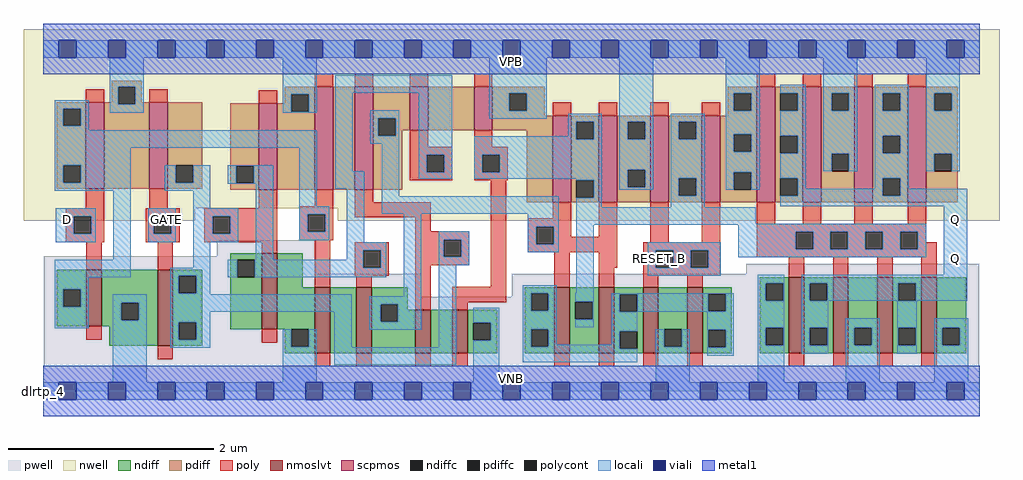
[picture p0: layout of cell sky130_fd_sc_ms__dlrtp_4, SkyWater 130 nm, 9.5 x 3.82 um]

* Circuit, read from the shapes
.subckt sky130_fd_sc_ms__dlrtp_4 D GATE RESET_B VGND VNB VPB VPWR Q
XM1 VGND D n1 VNB sky130_fd_pr__nfet_01v8_lvt w=0.55 l=0.15
XM2 n2 GATE VGND VNB sky130_fd_pr__nfet_01v8_lvt w=0.74 l=0.15
XM3 VGND n2 n3 VNB sky130_fd_pr__nfet_01v8_lvt w=0.74 l=0.15
XM4 n4 n1 VGND VNB sky130_fd_pr__nfet_01v8_lvt w=0.64 l=0.15
XM5 n5 n3 n4 VNB sky130_fd_pr__nfet_01v8_lvt w=0.64 l=0.15
XM6 n6 n2 n5 VNB sky130_fd_pr__nfet_01v8_lvt w=0.42 l=0.15
XM7 VGND n7 n6 VNB sky130_fd_pr__nfet_01v8_lvt w=0.42 l=0.15
XM8 n7 n5 n8 VNB sky130_fd_pr__nfet_01v8_lvt w=0.64 l=0.15 m=2
XM9 VGND RESET_B n8 VNB sky130_fd_pr__nfet_01v8_lvt w=0.64 l=0.15 m=2
XM10 Q n7 VGND VNB sky130_fd_pr__nfet_01v8_lvt w=0.74 l=0.15 m=4
XM11 VPWR D n1 VPB sky130_fd_pr__pfet_01v8 w=0.84 l=0.18
XM12 n2 GATE VPWR VPB sky130_fd_pr__pfet_01v8 w=0.84 l=0.18
XM13 VPWR n2 n3 VPB sky130_fd_pr__pfet_01v8 w=0.84 l=0.18
XM14 n9 n1 VPWR VPB sky130_fd_pr__pfet_01v8 w=1 l=0.18
XM15 n5 n2 n9 VPB sky130_fd_pr__pfet_01v8 w=1 l=0.18
XM16 n10 n3 n5 VPB sky130_fd_pr__pfet_01v8 w=0.42 l=0.18
XM17 VPWR n7 n10 VPB sky130_fd_pr__pfet_01v8 w=0.42 l=0.18
XM18 n7 n5 VPWR VPB sky130_fd_pr__pfet_01v8 w=0.84 l=0.18 m=2
XM19 n7 RESET_B VPWR VPB sky130_fd_pr__pfet_01v8 w=0.84 l=0.18 m=2
XM20 Q n7 VPWR VPB sky130_fd_pr__pfet_01v8 w=1.12 l=0.18 m=4
.ends

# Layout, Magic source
magic
tech sky130A
magscale 1 2
<< nwell >>
rect -38 356 1862 704
rect -38 332 296 356
rect 574 332 1862 356
<< pwell >>
rect 338 262 532 294
rect 1 228 532 262
rect 1369 228 1823 248
rect 1 184 736 228
rect 912 184 1823 228
rect 1 49 1823 184
rect 0 0 1824 49
<< scpmos >>
rect 83 394 119 562
rect 207 394 243 562
rect 420 392 456 560
rect 529 392 565 592
rect 607 392 643 592
rect 714 508 750 592
rect 839 508 875 592
rect 992 368 1028 536
rect 1082 368 1118 536
rect 1182 368 1218 536
rect 1282 368 1318 536
rect 1389 368 1425 592
rect 1479 368 1515 592
rect 1579 368 1615 592
rect 1683 368 1719 592
<< nmoslvt >>
rect 84 126 114 236
rect 223 88 253 236
rect 426 120 456 268
rect 529 74 559 202
rect 610 74 640 202
rect 725 74 755 158
rect 797 74 827 158
rect 995 74 1025 202
rect 1082 74 1112 202
rect 1168 74 1198 202
rect 1254 74 1284 202
rect 1452 74 1482 222
rect 1538 74 1568 222
rect 1624 74 1654 222
rect 1710 74 1740 222
<< ndiff >>
rect 364 256 426 268
rect 27 198 84 236
rect 27 164 39 198
rect 73 164 84 198
rect 27 126 84 164
rect 114 172 223 236
rect 114 138 152 172
rect 186 138 223 172
rect 114 126 223 138
rect 129 88 223 126
rect 253 224 310 236
rect 253 190 264 224
rect 298 190 310 224
rect 253 134 310 190
rect 253 100 264 134
rect 298 100 310 134
rect 364 222 378 256
rect 412 222 426 256
rect 364 120 426 222
rect 456 202 506 268
rect 456 120 529 202
rect 253 88 310 100
rect 471 86 483 120
rect 517 86 529 120
rect 471 74 529 86
rect 559 74 610 202
rect 640 169 710 202
rect 640 135 657 169
rect 691 158 710 169
rect 1395 210 1452 222
rect 938 190 995 202
rect 691 135 725 158
rect 640 74 725 135
rect 755 74 797 158
rect 827 133 884 158
rect 827 99 838 133
rect 872 99 884 133
rect 827 74 884 99
rect 938 156 950 190
rect 984 156 995 190
rect 938 120 995 156
rect 938 86 950 120
rect 984 86 995 120
rect 938 74 995 86
rect 1025 174 1082 202
rect 1025 140 1036 174
rect 1070 140 1082 174
rect 1025 74 1082 140
rect 1112 188 1168 202
rect 1112 154 1123 188
rect 1157 154 1168 188
rect 1112 116 1168 154
rect 1112 82 1123 116
rect 1157 82 1168 116
rect 1112 74 1168 82
rect 1198 120 1254 202
rect 1198 86 1209 120
rect 1243 86 1254 120
rect 1198 74 1254 86
rect 1284 189 1341 202
rect 1284 155 1295 189
rect 1329 155 1341 189
rect 1284 119 1341 155
rect 1284 85 1295 119
rect 1329 85 1341 119
rect 1284 74 1341 85
rect 1395 176 1407 210
rect 1441 176 1452 210
rect 1395 123 1452 176
rect 1395 89 1407 123
rect 1441 89 1452 123
rect 1395 74 1452 89
rect 1482 210 1538 222
rect 1482 176 1493 210
rect 1527 176 1538 210
rect 1482 123 1538 176
rect 1482 89 1493 123
rect 1527 89 1538 123
rect 1482 74 1538 89
rect 1568 123 1624 222
rect 1568 89 1579 123
rect 1613 89 1624 123
rect 1568 74 1624 89
rect 1654 210 1710 222
rect 1654 176 1665 210
rect 1699 176 1710 210
rect 1654 123 1710 176
rect 1654 89 1665 123
rect 1699 89 1710 123
rect 1654 74 1710 89
rect 1740 123 1797 222
rect 1740 89 1751 123
rect 1785 89 1797 123
rect 1740 74 1797 89
<< pdiff >>
rect 134 592 192 604
rect 134 562 146 592
rect 27 550 83 562
rect 27 516 39 550
rect 73 516 83 550
rect 27 440 83 516
rect 27 406 39 440
rect 73 406 83 440
rect 27 394 83 406
rect 119 558 146 562
rect 180 562 192 592
rect 180 558 207 562
rect 119 394 207 558
rect 243 440 310 562
rect 471 578 529 592
rect 471 560 483 578
rect 243 406 258 440
rect 292 406 310 440
rect 243 394 310 406
rect 364 439 420 560
rect 364 405 376 439
rect 410 405 420 439
rect 364 392 420 405
rect 456 544 483 560
rect 517 544 529 578
rect 456 392 529 544
rect 565 392 607 592
rect 643 531 714 592
rect 643 497 653 531
rect 687 508 714 531
rect 750 508 839 592
rect 875 580 977 592
rect 875 546 908 580
rect 942 546 977 580
rect 1333 580 1389 592
rect 875 536 977 546
rect 1333 546 1345 580
rect 1379 546 1389 580
rect 1333 536 1389 546
rect 875 508 992 536
rect 687 497 699 508
rect 643 392 699 497
rect 942 368 992 508
rect 1028 524 1082 536
rect 1028 490 1038 524
rect 1072 490 1082 524
rect 1028 410 1082 490
rect 1028 376 1038 410
rect 1072 376 1082 410
rect 1028 368 1082 376
rect 1118 524 1182 536
rect 1118 490 1138 524
rect 1172 490 1182 524
rect 1118 431 1182 490
rect 1118 397 1138 431
rect 1172 397 1182 431
rect 1118 368 1182 397
rect 1218 524 1282 536
rect 1218 490 1238 524
rect 1272 490 1282 524
rect 1218 414 1282 490
rect 1218 380 1238 414
rect 1272 380 1282 414
rect 1218 368 1282 380
rect 1318 500 1389 536
rect 1318 466 1345 500
rect 1379 466 1389 500
rect 1318 426 1389 466
rect 1318 392 1345 426
rect 1379 392 1389 426
rect 1318 368 1389 392
rect 1425 580 1479 592
rect 1425 546 1435 580
rect 1469 546 1479 580
rect 1425 497 1479 546
rect 1425 463 1435 497
rect 1469 463 1479 497
rect 1425 414 1479 463
rect 1425 380 1435 414
rect 1469 380 1479 414
rect 1425 368 1479 380
rect 1515 580 1579 592
rect 1515 546 1535 580
rect 1569 546 1579 580
rect 1515 462 1579 546
rect 1515 428 1535 462
rect 1569 428 1579 462
rect 1515 368 1579 428
rect 1615 580 1683 592
rect 1615 546 1635 580
rect 1669 546 1683 580
rect 1615 497 1683 546
rect 1615 463 1635 497
rect 1669 463 1683 497
rect 1615 414 1683 463
rect 1615 380 1635 414
rect 1669 380 1683 414
rect 1615 368 1683 380
rect 1719 580 1781 592
rect 1719 546 1735 580
rect 1769 546 1781 580
rect 1719 462 1781 546
rect 1719 428 1735 462
rect 1769 428 1781 462
rect 1719 368 1781 428
<< ndiffc >>
rect 39 164 73 198
rect 152 138 186 172
rect 264 190 298 224
rect 264 100 298 134
rect 378 222 412 256
rect 483 86 517 120
rect 657 135 691 169
rect 838 99 872 133
rect 950 156 984 190
rect 950 86 984 120
rect 1036 140 1070 174
rect 1123 154 1157 188
rect 1123 82 1157 116
rect 1209 86 1243 120
rect 1295 155 1329 189
rect 1295 85 1329 119
rect 1407 176 1441 210
rect 1407 89 1441 123
rect 1493 176 1527 210
rect 1493 89 1527 123
rect 1579 89 1613 123
rect 1665 176 1699 210
rect 1665 89 1699 123
rect 1751 89 1785 123
<< pdiffc >>
rect 39 516 73 550
rect 39 406 73 440
rect 146 558 180 592
rect 258 406 292 440
rect 376 405 410 439
rect 483 544 517 578
rect 653 497 687 531
rect 908 546 942 580
rect 1345 546 1379 580
rect 1038 490 1072 524
rect 1038 376 1072 410
rect 1138 490 1172 524
rect 1138 397 1172 431
rect 1238 490 1272 524
rect 1238 380 1272 414
rect 1345 466 1379 500
rect 1345 392 1379 426
rect 1435 546 1469 580
rect 1435 463 1469 497
rect 1435 380 1469 414
rect 1535 546 1569 580
rect 1535 428 1569 462
rect 1635 546 1669 580
rect 1635 463 1669 497
rect 1635 380 1669 414
rect 1735 546 1769 580
rect 1735 428 1769 462
<< poly >>
rect 529 592 565 618
rect 607 592 643 618
rect 714 592 750 618
rect 839 592 875 618
rect 1389 592 1425 618
rect 1479 592 1515 618
rect 1579 592 1615 618
rect 1683 592 1719 618
rect 83 562 119 588
rect 207 562 243 588
rect 420 560 456 586
rect 83 356 119 394
rect 207 356 243 394
rect 992 536 1028 562
rect 1082 536 1118 562
rect 1182 536 1218 562
rect 1282 536 1318 562
rect 714 476 750 508
rect 839 476 875 508
rect 714 460 797 476
rect 714 426 747 460
rect 781 426 797 460
rect 714 410 797 426
rect 839 460 905 476
rect 839 426 855 460
rect 889 426 905 460
rect 839 410 905 426
rect 420 356 456 392
rect 529 360 565 392
rect 44 340 119 356
rect 44 306 60 340
rect 94 306 119 340
rect 44 290 119 306
rect 200 340 266 356
rect 200 306 216 340
rect 250 306 266 340
rect 200 290 266 306
rect 314 340 456 356
rect 314 306 330 340
rect 364 306 456 340
rect 314 290 456 306
rect 499 344 565 360
rect 499 310 515 344
rect 549 310 565 344
rect 607 368 643 392
rect 607 338 755 368
rect 499 294 565 310
rect 725 311 755 338
rect 725 295 830 311
rect 84 236 114 290
rect 223 236 253 290
rect 426 268 456 290
rect 84 100 114 126
rect 529 202 559 294
rect 607 274 673 290
rect 607 240 623 274
rect 657 240 673 274
rect 607 224 673 240
rect 725 261 780 295
rect 814 261 830 295
rect 725 245 830 261
rect 610 202 640 224
rect 426 94 456 120
rect 223 62 253 88
rect 725 158 755 245
rect 872 203 902 410
rect 992 336 1028 368
rect 944 320 1028 336
rect 944 286 960 320
rect 994 300 1028 320
rect 1082 300 1118 368
rect 994 286 1118 300
rect 1182 290 1218 368
rect 1282 290 1318 368
rect 944 270 1118 286
rect 797 173 902 203
rect 995 202 1025 270
rect 1082 240 1118 270
rect 1168 274 1318 290
rect 1168 240 1193 274
rect 1227 240 1261 274
rect 1295 240 1318 274
rect 1389 326 1425 368
rect 1479 326 1515 368
rect 1579 326 1615 368
rect 1683 326 1719 368
rect 1389 310 1719 326
rect 1389 276 1465 310
rect 1499 276 1533 310
rect 1567 276 1601 310
rect 1635 276 1669 310
rect 1703 290 1719 310
rect 1703 276 1740 290
rect 1389 260 1740 276
rect 1082 202 1112 240
rect 1168 224 1318 240
rect 1168 202 1198 224
rect 1254 202 1284 224
rect 1452 222 1482 260
rect 1538 222 1568 260
rect 1624 222 1654 260
rect 1710 222 1740 260
rect 797 158 827 173
rect 529 48 559 74
rect 610 48 640 74
rect 725 48 755 74
rect 797 48 827 74
rect 995 48 1025 74
rect 1082 48 1112 74
rect 1168 48 1198 74
rect 1254 48 1284 74
rect 1452 48 1482 74
rect 1538 48 1568 74
rect 1624 48 1654 74
rect 1710 48 1740 74
<< polycont >>
rect 747 426 781 460
rect 855 426 889 460
rect 60 306 94 340
rect 216 306 250 340
rect 330 306 364 340
rect 515 310 549 344
rect 623 240 657 274
rect 780 261 814 295
rect 960 286 994 320
rect 1193 240 1227 274
rect 1261 240 1295 274
rect 1465 276 1499 310
rect 1533 276 1567 310
rect 1601 276 1635 310
rect 1669 276 1703 310
<< locali >>
rect 0 649 31 683
rect 65 649 127 683
rect 161 649 223 683
rect 257 649 319 683
rect 353 649 415 683
rect 449 649 511 683
rect 545 649 607 683
rect 641 649 703 683
rect 737 649 799 683
rect 833 649 895 683
rect 929 649 991 683
rect 1025 649 1087 683
rect 1121 649 1183 683
rect 1217 649 1279 683
rect 1313 649 1375 683
rect 1409 649 1471 683
rect 1505 649 1567 683
rect 1601 649 1663 683
rect 1697 649 1759 683
rect 1793 649 1824 683
rect 130 592 196 649
rect 23 550 89 566
rect 23 516 39 550
rect 73 516 89 550
rect 130 558 146 592
rect 180 558 196 592
rect 130 542 196 558
rect 467 578 533 649
rect 467 544 483 578
rect 517 544 533 578
rect 467 542 533 544
rect 569 581 797 615
rect 23 508 89 516
rect 23 474 533 508
rect 23 440 171 474
rect 23 406 39 440
rect 73 406 171 440
rect 23 390 171 406
rect 237 406 258 440
rect 292 406 326 440
rect 237 390 326 406
rect 360 439 448 440
rect 360 405 376 439
rect 410 405 448 439
rect 360 404 448 405
rect 25 340 103 356
rect 25 306 60 340
rect 94 306 103 340
rect 25 290 103 306
rect 137 256 171 390
rect 292 356 326 390
rect 205 340 258 356
rect 205 306 216 340
rect 250 306 258 340
rect 205 290 258 306
rect 292 340 380 356
rect 292 306 330 340
rect 364 306 380 340
rect 292 290 380 306
rect 23 222 171 256
rect 292 240 326 290
rect 414 256 448 404
rect 499 360 533 474
rect 569 428 603 581
rect 637 531 693 547
rect 637 497 653 531
rect 687 497 693 531
rect 637 481 693 497
rect 569 394 625 428
rect 499 344 557 360
rect 499 310 515 344
rect 549 310 557 344
rect 499 294 557 310
rect 591 290 625 394
rect 659 379 693 481
rect 731 460 797 581
rect 869 580 981 649
rect 869 546 908 580
rect 942 546 981 580
rect 869 530 981 546
rect 1022 524 1088 540
rect 1022 496 1038 524
rect 731 426 747 460
rect 781 426 797 460
rect 731 413 797 426
rect 839 490 1038 496
rect 1072 490 1088 524
rect 839 460 1088 490
rect 839 426 855 460
rect 889 426 1088 460
rect 839 413 1088 426
rect 1038 410 1088 413
rect 659 345 1004 379
rect 591 274 668 290
rect 591 256 623 274
rect 248 224 326 240
rect 23 198 89 222
rect 23 164 39 198
rect 73 164 89 198
rect 248 190 264 224
rect 298 190 326 224
rect 360 222 378 256
rect 412 240 623 256
rect 657 240 668 274
rect 412 222 668 240
rect 248 188 326 190
rect 23 122 89 164
rect 136 172 202 188
rect 136 138 152 172
rect 186 138 202 172
rect 136 17 202 138
rect 248 154 601 188
rect 702 185 736 345
rect 944 320 1004 345
rect 248 134 326 154
rect 248 100 264 134
rect 298 100 326 134
rect 248 84 326 100
rect 467 86 483 120
rect 517 86 533 120
rect 467 17 533 86
rect 567 85 601 154
rect 635 169 736 185
rect 635 135 657 169
rect 691 135 736 169
rect 635 119 736 135
rect 770 295 830 311
rect 770 261 780 295
rect 814 261 830 295
rect 944 286 960 320
rect 994 286 1004 320
rect 944 270 1004 286
rect 1072 376 1088 410
rect 1122 524 1188 649
rect 1329 580 1395 649
rect 1329 546 1345 580
rect 1379 546 1395 580
rect 1122 490 1138 524
rect 1172 490 1188 524
rect 1122 431 1188 490
rect 1122 397 1138 431
rect 1172 397 1188 431
rect 1122 392 1188 397
rect 1222 524 1288 540
rect 1222 490 1238 524
rect 1272 490 1288 524
rect 1222 414 1288 490
rect 1038 358 1088 376
rect 1222 380 1238 414
rect 1272 380 1288 414
rect 1329 500 1395 546
rect 1329 466 1345 500
rect 1379 466 1395 500
rect 1329 426 1395 466
rect 1329 392 1345 426
rect 1379 392 1395 426
rect 1435 580 1485 596
rect 1469 546 1485 580
rect 1435 497 1485 546
rect 1469 463 1485 497
rect 1435 414 1485 463
rect 1519 580 1585 649
rect 1519 546 1535 580
rect 1569 546 1585 580
rect 1519 462 1585 546
rect 1519 428 1535 462
rect 1569 428 1585 462
rect 1619 580 1685 596
rect 1619 546 1635 580
rect 1669 546 1685 580
rect 1619 497 1685 546
rect 1619 463 1635 497
rect 1669 463 1685 497
rect 1222 358 1288 380
rect 1469 394 1485 414
rect 1619 414 1685 463
rect 1719 580 1785 649
rect 1719 546 1735 580
rect 1769 546 1785 580
rect 1719 462 1785 546
rect 1719 428 1735 462
rect 1769 428 1785 462
rect 1619 394 1635 414
rect 1469 380 1635 394
rect 1669 394 1685 414
rect 1669 380 1799 394
rect 1435 360 1799 380
rect 1038 326 1387 358
rect 1038 324 1719 326
rect 770 245 830 261
rect 770 85 804 245
rect 934 190 1000 206
rect 1038 190 1072 324
rect 1353 310 1719 324
rect 1177 274 1319 290
rect 1177 240 1193 274
rect 1227 240 1261 274
rect 1295 240 1319 274
rect 1353 276 1465 310
rect 1499 276 1533 310
rect 1567 276 1601 310
rect 1635 276 1669 310
rect 1703 276 1719 310
rect 1353 260 1719 276
rect 1177 224 1319 240
rect 1753 226 1799 360
rect 1391 210 1443 226
rect 567 51 804 85
rect 838 133 888 162
rect 872 99 888 133
rect 838 17 888 99
rect 934 156 950 190
rect 984 156 1000 190
rect 934 120 1000 156
rect 1036 174 1072 190
rect 1070 140 1072 174
rect 1036 124 1072 140
rect 1107 189 1345 190
rect 1107 188 1295 189
rect 1107 154 1123 188
rect 1157 155 1295 188
rect 1329 155 1345 189
rect 1157 154 1345 155
rect 934 86 950 120
rect 984 90 1000 120
rect 1107 116 1157 154
rect 1107 90 1123 116
rect 984 86 1123 90
rect 934 82 1123 86
rect 934 56 1157 82
rect 1193 86 1209 120
rect 1243 86 1259 120
rect 1193 17 1259 86
rect 1293 119 1345 154
rect 1293 85 1295 119
rect 1329 85 1345 119
rect 1293 69 1345 85
rect 1391 176 1407 210
rect 1441 176 1443 210
rect 1391 123 1443 176
rect 1391 89 1407 123
rect 1441 89 1443 123
rect 1391 17 1443 89
rect 1477 210 1799 226
rect 1477 176 1493 210
rect 1527 176 1665 210
rect 1699 176 1799 210
rect 1477 123 1529 176
rect 1477 89 1493 123
rect 1527 89 1529 123
rect 1477 73 1529 89
rect 1563 123 1629 142
rect 1563 89 1579 123
rect 1613 89 1629 123
rect 1563 17 1629 89
rect 1663 123 1701 176
rect 1663 89 1665 123
rect 1699 89 1701 123
rect 1663 73 1701 89
rect 1735 123 1801 142
rect 1735 89 1751 123
rect 1785 89 1801 123
rect 1735 17 1801 89
rect 0 -17 31 17
rect 65 -17 127 17
rect 161 -17 223 17
rect 257 -17 319 17
rect 353 -17 415 17
rect 449 -17 511 17
rect 545 -17 607 17
rect 641 -17 703 17
rect 737 -17 799 17
rect 833 -17 895 17
rect 929 -17 991 17
rect 1025 -17 1087 17
rect 1121 -17 1183 17
rect 1217 -17 1279 17
rect 1313 -17 1375 17
rect 1409 -17 1471 17
rect 1505 -17 1567 17
rect 1601 -17 1663 17
rect 1697 -17 1759 17
rect 1793 -17 1824 17
<< viali >>
rect 31 649 65 683
rect 127 649 161 683
rect 223 649 257 683
rect 319 649 353 683
rect 415 649 449 683
rect 511 649 545 683
rect 607 649 641 683
rect 703 649 737 683
rect 799 649 833 683
rect 895 649 929 683
rect 991 649 1025 683
rect 1087 649 1121 683
rect 1183 649 1217 683
rect 1279 649 1313 683
rect 1375 649 1409 683
rect 1471 649 1505 683
rect 1567 649 1601 683
rect 1663 649 1697 683
rect 1759 649 1793 683
rect 31 -17 65 17
rect 127 -17 161 17
rect 223 -17 257 17
rect 319 -17 353 17
rect 415 -17 449 17
rect 511 -17 545 17
rect 607 -17 641 17
rect 703 -17 737 17
rect 799 -17 833 17
rect 895 -17 929 17
rect 991 -17 1025 17
rect 1087 -17 1121 17
rect 1183 -17 1217 17
rect 1279 -17 1313 17
rect 1375 -17 1409 17
rect 1471 -17 1505 17
rect 1567 -17 1601 17
rect 1663 -17 1697 17
rect 1759 -17 1793 17
<< metal1 >>
rect 0 683 1824 715
rect 0 649 31 683
rect 65 649 127 683
rect 161 649 223 683
rect 257 649 319 683
rect 353 649 415 683
rect 449 649 511 683
rect 545 649 607 683
rect 641 649 703 683
rect 737 649 799 683
rect 833 649 895 683
rect 929 649 991 683
rect 1025 649 1087 683
rect 1121 649 1183 683
rect 1217 649 1279 683
rect 1313 649 1375 683
rect 1409 649 1471 683
rect 1505 649 1567 683
rect 1601 649 1663 683
rect 1697 649 1759 683
rect 1793 649 1824 683
rect 0 617 1824 649
rect 0 17 1824 49
rect 0 -17 31 17
rect 65 -17 127 17
rect 161 -17 223 17
rect 257 -17 319 17
rect 353 -17 415 17
rect 449 -17 511 17
rect 545 -17 607 17
rect 641 -17 703 17
rect 737 -17 799 17
rect 833 -17 895 17
rect 929 -17 991 17
rect 1025 -17 1087 17
rect 1121 -17 1183 17
rect 1217 -17 1279 17
rect 1313 -17 1375 17
rect 1409 -17 1471 17
rect 1505 -17 1567 17
rect 1601 -17 1663 17
rect 1697 -17 1759 17
rect 1793 -17 1824 17
rect 0 -49 1824 -17
<< labels >>
flabel pwell s 0 0 1824 49 0 FreeSans 200 0 0 0 VNB
port 5 nsew ground bidirectional
flabel nwell s 0 617 1824 666 0 FreeSans 200 0 0 0 VPB
port 6 nsew power bidirectional
rlabel comment s 0 0 0 0 4 dlrtp_4
flabel metal1 s 0 617 1824 666 0 FreeSans 340 0 0 0 VPWR
port 7 nsew power bidirectional
flabel metal1 s 0 0 1824 49 0 FreeSans 340 0 0 0 VGND
port 4 nsew ground bidirectional
flabel locali s 31 316 65 350 0 FreeSans 340 0 0 0 D
port 1 nsew signal input
flabel locali s 223 316 257 350 0 FreeSans 340 0 0 0 GATE
port 2 nsew clock input
flabel locali s 1183 242 1217 276 0 FreeSans 340 0 0 0 RESET_B
port 3 nsew signal input
flabel locali s 1279 242 1313 276 0 FreeSans 340 0 0 0 RESET_B
port 3 nsew signal input
flabel locali s 1759 242 1793 276 0 FreeSans 340 0 0 0 Q
port 8 nsew signal output
flabel locali s 1759 316 1793 350 0 FreeSans 340 0 0 0 Q
port 8 nsew signal output
<< properties >>
string LEFsite unit
string LEFclass CORE
string FIXED_BBOX 0 0 1824 666
string GDS_FILE $PDKPATH/libs.ref/sky130_fd_sc_ms/gds/sky130_fd_sc_ms.gds
string LEFsymmetry X Y
string GDS_END 1052852
string GDS_START 1039540
<< end >>
